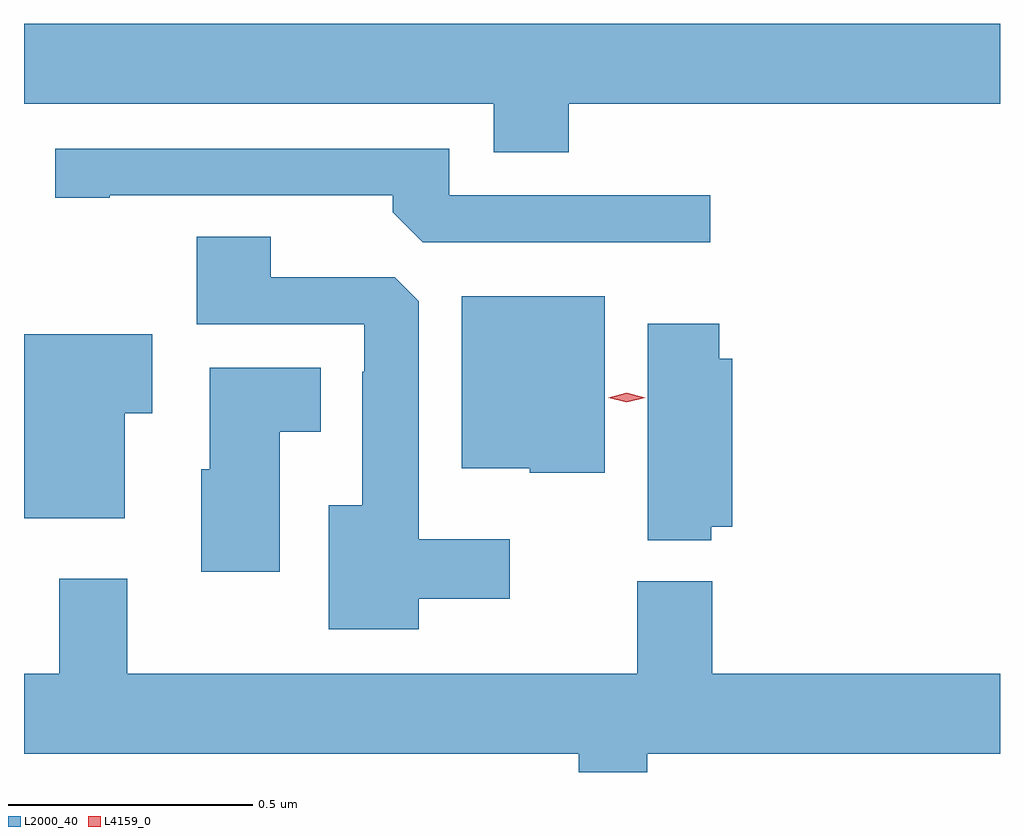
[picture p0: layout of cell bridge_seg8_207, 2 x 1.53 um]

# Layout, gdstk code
import gdstk
lib = gdstk.Library(unit=1e-6, precision=1e-09)
def P(c, l, *ps):  # polygons
    for p in ps: c.add(gdstk.Polygon(p, *l))
L2000_40 = (2000, 40)
L4159_0 = (4159, 0)

bridge_seg8_207 = lib.new_cell('bridge_seg8_207')
P(bridge_seg8_207, L2000_40, [(171.182,1117.832),(172.066,1117.832),(172.066,1117.996),(170.066,1117.996),(170.066,1117.832),(171.029,1117.832),(171.029,1117.733),(171.182,1117.733)],
  [(171.472,1117.644),(170.937,1117.644),(170.937,1117.74),(170.13,1117.74),(170.13,1117.639),(170.242,1117.639),(170.242,1117.644),(170.822,1117.644),(170.822,1117.61),(170.883,1117.548),(171.472,1117.548)],
  [(170.875,1116.818),(171.061,1116.818),(171.061,1116.94),(170.875,1116.94),(170.875,1117.427),(170.826,1117.476),(170.572,1117.476),(170.572,1117.559),(170.42,1117.559),(170.42,1117.38),(170.763,1117.38),(170.763,1117.283),(170.759,1117.283),(170.759,1117.009),(170.69,1117.009),(170.69,1116.755),(170.875,1116.755)],
  [(171.256,1117.438),(170.963,1117.438),(170.963,1117.085),(171.102,1117.085),(171.102,1117.076),(171.256,1117.076)],
  [(171.474,1116.965),(171.517,1116.965),(171.517,1117.309),(171.491,1117.309),(171.491,1117.381),(171.344,1117.381),(171.344,1116.938),(171.474,1116.938)],
  [(170.272,1117.198),(170.329,1117.198),(170.329,1117.36),(170.066,1117.36),(170.066,1116.983),(170.272,1116.983)],
  [(170.59,1117.16),(170.674,1117.16),(170.674,1117.291),(170.447,1117.291),(170.447,1117.083),(170.429,1117.083),(170.429,1116.873),(170.59,1116.873)],
  [(171.343,1116.5),(172.066,1116.5),(172.066,1116.664),(171.476,1116.664),(171.476,1116.853),(171.323,1116.853),(171.323,1116.664),(170.278,1116.664),(170.278,1116.859),(170.138,1116.859),(170.138,1116.664),(170.066,1116.664),(170.066,1116.5),(171.203,1116.5),(171.203,1116.462),(171.343,1116.462)])
P(bridge_seg8_207, L4159_0, [(171.301,1117.22),(171.263,1117.23),(171.263,1117.23),(171.263,1117.23),(171.301,1117.24),(171.339,1117.23),(171.339,1117.23),(171.339,1117.23)])

lib.write_gds('bridge_seg8_207.gds')
